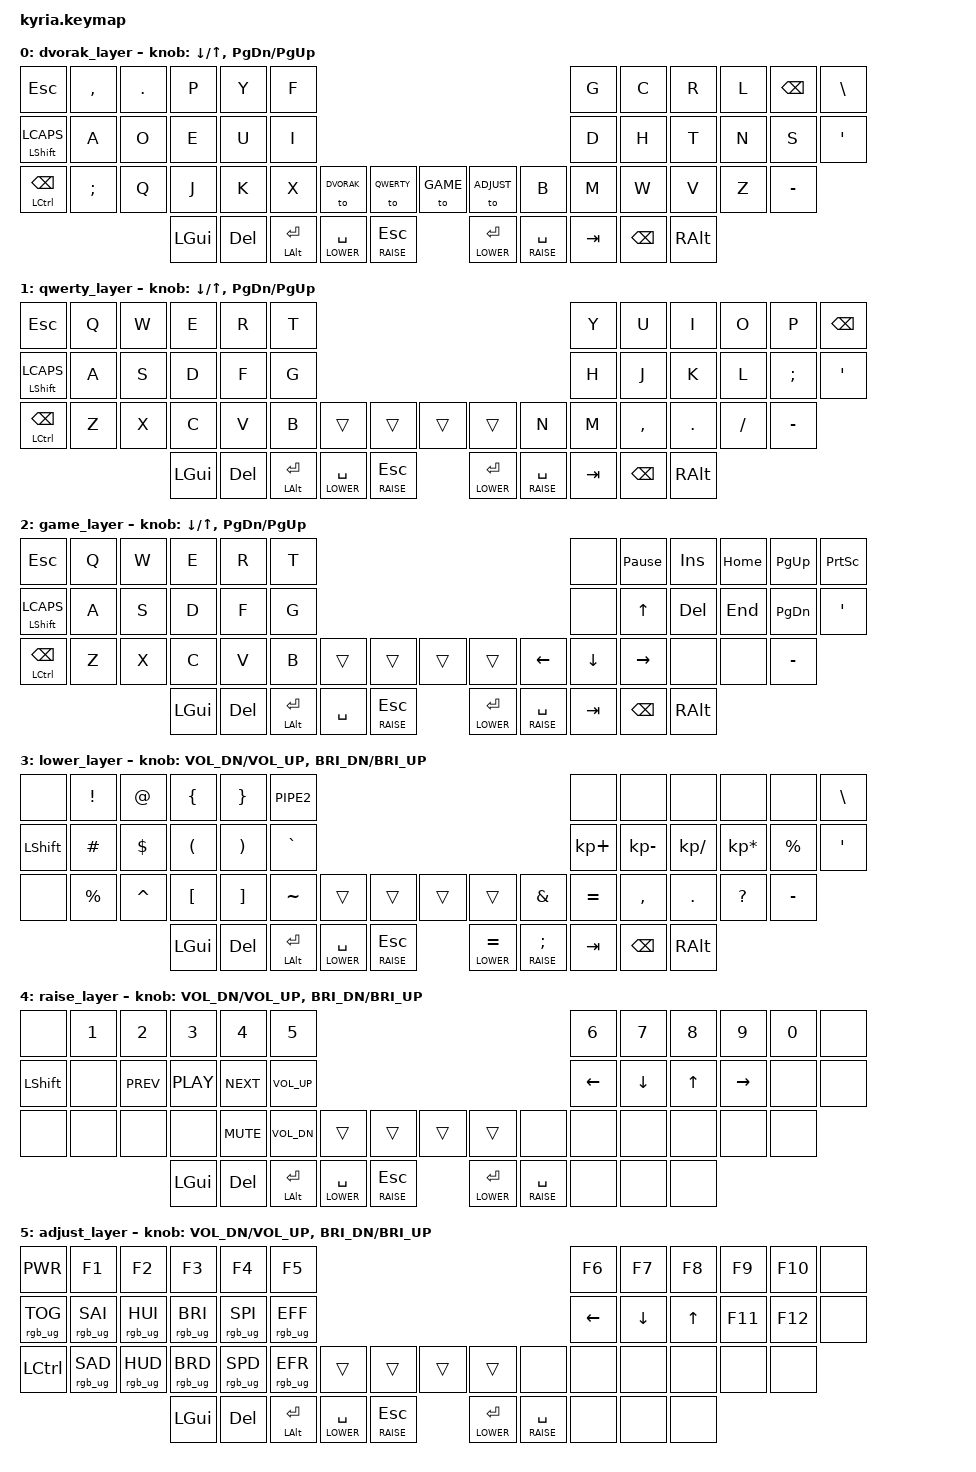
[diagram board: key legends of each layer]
/*
 * Copyright (c) 2020 The ZMK Contributors
 *
 * SPDX-License-Identifier: MIT
 */

#include <behaviors.dtsi>
#include <dt-bindings/zmk/keys.h>
#include <dt-bindings/zmk/rgb.h>

#define DVORAK  0
#define QWERTY  1
#define GAME	2
#define LOWER   3
#define RAISE   4
#define ADJUST	5


&left_encoder { resolution = <2>; };
&right_encoder { resolution = <2>; };

/ {

	keymap {
		compatible = "zmk,keymap";
/* 
 * Base Layer: DVORAK 
 *
 * ,----------------------------------------------.																   ,-------------------------------------------.
 * |  RAIS/ESC | , <  | . >  |   P  |   Y  |   F  |																   |   G  |   C  |   R  |   L  | BKSP |  | \   |
 * |-----------+------+------+------+------+------|																   |------+------+------+------+------+--------|
 * |LShift/caps|   A  |   O  |  E   |   U  |   I  |																   |   D  |   H  |   T  |   N  |   S  |  ' "   |
 * |-----------+------+------+------+------+------+-------------. 									 ,-------------+------+------+------+------+------+--------|
 * |  Ctrl/BS  |   ;  |   Q  |   J  |   K  |   X  |DVORAK|QWERTY| 									 | GAME |ADJUST|   B  |   M  |  W   |   V  |   Z  |  - _   |
 * `-------------------------+------+------+------+------+------| 									 |------+------+------+------+------+----------------------'
 *							 | GUI  | Del  | Enter| Space| Esc  | 									 | Enter| Space| Tab  |  bsp | AltGr|
 *							 |      |      | Alt  | Lower| Raise| 									 | Lower| Raise|      |      |      |
 *							 `----------------------------------' 									 `----------------------------------'
 */
		dvorak_layer {

			bindings = <
	&kp ESC   		&kp COMMA	&kp DOT	 &kp P 		&kp Y 	&kp F                                                						&kp G 	  	&kp C		&kp R 	 &kp L 	&kp BSPC	&kp BSLH
	&mt LSHFT LCAPS &kp A 		&kp O    &kp E 		&kp U 	&kp I                                                						&kp D 	  	&kp H		&kp T 	 &kp N 	&kp S   	&kp SQT
	&mt LCTL BSPC	&kp SEMI	&kp Q    &kp J 		&kp K 	&kp X 		 &to DVORAK 	 &to QWERTY  	 &to GAME  	&to ADJUST 	&kp B 		&kp M		&kp W 	 &kp V 	&kp Z   	&kp MINUS
	                 					 &kp LGUI   &kp DEL &mt LALT RET &lt LOWER SPACE &lt RAISE ESC 	 &lt LOWER RET  &lt RAISE SPACE &kp TAB 	&kp BSPC	&kp RALT
			>;
 
			sensor-bindings = <&inc_dec_kp DOWN UP &inc_dec_kp PG_DN PG_UP>;
		};
/* 
 * Base Layer: QWERTY 
 *
 * ,-------------------------------------------.							  ,-------------------------------------------.
 * |RAIS/ESC|   Q  |   W  |   E  |   R  |   T  |							  |   Y  |   U  |   I  |   O  |   P  |  | \   |
 * |--------+------+------+------+------+------|							  |------+------+------+------+------+--------|
 * | LShift |   A  |   S  |  D   |   F  |   G  |							  |   H  |   J  |   K  |   L  | ;  : |  ' "   |
 * |--------+------+------+------+------+------+-------------.  ,-------------+------+------+------+------+------+--------|
 * | Ctrl/BS|   Z  |   X  |   C  |   V  |   B  |DVORAK|QWERTY|  | GAME |ADJUST|   N  |   M  | ,  < | . >  |    ? |  - _   |
 * `----------------------+------+------+------+------+------|  |------+------+------+------+------+----------------------'
 *						  | GUI  | Del  | Enter| Space| Esc  |  | Enter| Space| Tab  | Bksp | AltGr|
 *						  |      |      | Alt  | Lower| Raise|  | Lower| Raise|      |      |      |
 *						  `----------------------------------'  `----------------------------------'
 */
		qwerty_layer {	
			bindings = <
	&kp ESC   		&kp Q	&kp W	&kp E 		&kp R 	&kp T                                                						 &kp Y 	  	&kp U		&kp I 	  &kp O 	&kp P		&kp BSPC
	&mt LSHFT LCAPS &kp A 	&kp S  	&kp D 		&kp F 	&kp G                                                						 &kp H 	  	&kp J		&kp K 	  &kp L 	&kp SEMI   	&kp SQT
	&mt LCTL BSPC	&kp Z 	&kp X  	&kp C 		&kp V 	&kp B 	 	 &trans 	 &trans  	 &trans  	&trans 	 &kp N 	  	&kp M		&kp COMMA &kp DOT 	&kp FSLH   	&kp MINUS
	                 				&kp LGUI	&kp DEL &mt LALT RET &lt LOWER SPACE &lt RAISE ESC 	 &lt LOWER RET  &lt RAISE SPACE	 &kp TAB  	&kp BSPC  	&kp RALT
	        >;

			sensor-bindings = <&inc_dec_kp DOWN UP &inc_dec_kp PG_DN PG_UP>;
		};

 		game_layer {
 /* 
  * Base Layer: GAME
  *
  * ,-------------------------------------------.							   ,-------------------------------------------.
  * |RAIS/ESC|   Q  |   W  |   E  |   R  |   T  |							   |      | paus |insert| home | pgup |printscreen|
  * |--------+------+------+------+------+------|							   |------+------+------+------+------+--------|
  * | LShift |   A  |   S  |  D   |   F  |   G  |							   |      |   ^  |delete|  end | pgdn |  Plus  |
  * |--------+------+------+------+------+------+-------------.  ,-------------+------+------+------+------+------+--------|
  * | Ctrl/BS|   Z  |   X  |   C  |   V  |   B  |DVORAK|QWERTY|  | GAME |ADJUST| <--  |   v  | -->  |      |      | Minus  |
  * `----------------------+------+------+------+------+------|  |------+------+------+------+------+----------------------'
  *						   | GUI  | Tab  | Enter| Space| Esc  |  | Enter| Space| Tab  | Bksp | AltGr|
  *						   |      |      | Alt  | Lower| Raise|  | Lower| Raise|      |      |      |
  *						   `----------------------------------'  `----------------------------------'
  */
 						bindings = <
 	&kp ESC   		&kp Q	&kp W	 &kp E 		&kp R 		&kp T                                                	   					&none	  &kp PAUSE_BREAK  	&kp INS    &kp HOME  &kp PG_UP	&kp PSCRN
 	&mt LSHFT LCAPS &kp A 	&kp S    &kp D 		&kp F 		&kp G                                                	   					&none 	  &kp UP    	   	&kp DEL    &kp END	 &kp PG_DN 	&kp SQT
 	&mt LCTL BSPC	&kp Z 	&kp X    &kp C 		&kp V 		&kp B 		 &trans 	 &trans  	 &trans  	&trans 	&kp LEFT  &kp DOWN  	   	&kp RIGHT  &none 	 &none   	&kp MINUS
 	        	                 	 &kp LGUI   &kp DEL 	&mt LALT RET &kp SPACE &lt RAISE ESC 	 &lt LOWER RET  &lt RAISE SPACE	&kp TAB   &kp BSPC  	   	&kp RALT
 			>;

 			sensor-bindings = <&inc_dec_kp DOWN UP &inc_dec_kp PG_DN PG_UP>;
 		};

 		lower_layer {
 /* 
  * Lower Layer: Symbols 
  * 
  * ,-------------------------------------------.							   ,-------------------------------------------.
  * |        |  !   |  @   |  {   |  }   |  |   |							   |      |      |      |      |      |  | \   |
  * |--------+------+------+------+------+------|							   |------+------+------+------+------+--------|
  * |        |  #   |  $   |  (   |  )   |  `   |							   |   +  |  -   |  /   |  *   |  %   |  ' "   |
  * |--------+------+------+------+------+------+-------------.  ,-------------+------+------+------+------+------+--------|
  * |        |  %   |  ^   |  [   |  ]   |  ~   |DVORAK|QWERTY|  | GAME |ADJUST|   &  |  =   |  ,   |  .   |    ? | - _    |
  * `----------------------+------+------+------+------+------|  |------+------+------+------+------+----------------------'
  *						   | GUI  | Tab  | Enter| Space| Esc  |  | 	=   |   ;  | Tab  | Bksp | AltGr|
  *						   |      |      | Alt  | Lower| Raise|  | Lower| Raise|      |      |      |
  *						   `----------------------------------'  `----------------------------------'
  */
 						bindings = <
 	&none     &kp EXCL  &kp AT	  &kp LBRC	&kp RBRC 	&kp PIPE2                                              						&none	  	&none	     &none    		&none  	 		 &none		&kp BSLH
 	&kp LSHFT &kp HASH  &kp DLLR  &kp LPAR	&kp RPAR	&kp GRAVE                                              						&kp KP_PLUS &kp KP_MINUS &kp KP_SLASH 	&kp KP_ASTERISK	 &kp PRCNT 	&kp SQT
 	&none     &kp PRCNT &kp CARET &kp LBKT	&kp RBKT	&kp TILDE 	 &trans 	 &trans  	 &trans  	&trans 	&kp AMPS  	&kp EQUAL  	 &kp COMMA  	&kp DOT 	 	 &kp QMARK  &kp MINUS
 	        	     		   	  &kp LGUI  &kp DEL 	&mt LALT RET &lt LOWER SPACE &lt RAISE ESC 	 &lt LOWER EQUAL  &lt RAISE SEMI &kp TAB		&kp BSPC  	 &kp RALT
 			>;

 			sensor-bindings = <&inc_dec_kp C_VOL_DN C_VOL_UP &inc_dec_kp C_BRI_DN C_BRI_UP>;
 		};

 		raise_layer {
 /*
  * Raise Layer: Number keys, media, navigation
  *
  * ,-------------------------------------------.							   ,-------------------------------------------.
  * |        |   1  |  2   |  3   |  4   |  5   |							   |  6   |  7   |  8   |  9   |  0   |        |
  * |--------+------+------+------+------+------|							   |------+------+------+------+------+--------|
  * |        |      | Prev | Play | Next | VolUp|							   | Left | Down | Up   | Right|      |        |
  * |--------+------+------+------+------+------+-------------.  ,-------------+------+------+------+------+------+--------|
  * |        |      |      |      | Mute | VolDn|DVORAK|QWERTY|  | GAME |ADJUST| MLeft| Mdown| MUp  |MRight|      |        |
  * `----------------------+------+------+------+------+------|  |------+------+------+------+------+----------------------'
  *						   |      |      |      | Space| Esc  |  | 	=   |   ;  |      |      |      |
  *						   |      |      |      | Lower| Raise|  | Lower| Raise|      |      |      |
  *						   `----------------------------------'  `----------------------------------'
  */
 			bindings = <
 	&none  	  &kp N1 &kp N2	    &kp N3		&kp N4 		&kp N5                                              						&kp N6		&kp N7     	&kp N8  &kp N9 	 	&kp N0		&none
 	&kp LSHFT &none	 &kp C_PREV &kp C_PLAY	&kp C_NEXT	&kp C_VOL_UP                                              					&kp LEFT  	&kp DOWN	&kp UP	&kp RIGHT	&none	 	&none
 	&none  	  &none	 &none		&none		&kp C_MUTE	&kp C_VOL_DN &trans 	 &trans  	 &trans  	&trans 	&none	  	&none	  	&none	&none 	 	&none   	&none
 	        	     		    &kp LGUI  &kp DEL   &mt LALT RET &lt LOWER SPACE &lt RAISE ESC 	 &lt LOWER RET  &lt RAISE SPACE &none		&none	  	&none
 			>;

 			sensor-bindings = <&inc_dec_kp C_VOL_DN C_VOL_UP &inc_dec_kp C_BRI_DN C_BRI_UP>;
 		};

 		adjust_layer {
 /*
  * Adjust Layer: Function keys, RGB
  *
  * ,-------------------------------------------.							   ,-------------------------------------------.
  * |   PWR  | F1   |  F2  | F3   | F4   | F5   |							   | F6   | F7   |  F8  | F9   | F10  |        |
  * |--------+------+------+------+------+------|							   |------+------+------+------+------+--------|
  * |   TOG  | SAI  | HUI  | VAI  | MOD  |      |							   |      |      |      | F11  | F12  |        |
  * |--------+------+------+------+------+------+-------------.  ,-------------+------+------+------+------+------+--------|
  * |  LCTL  | SAD  | HUD  | VAD  | RMOD |      |      |      |  |      |      |      |      |      |      |      |        |
  * `----------------------+------+------+------+------+------|  |------+------+------+------+------+----------------------'
  *						   |      |      |      |      |      |  |      |      |      |      |      |
  *						   |      |      |      |      |      |  |      |      |      |      |      |
  *						   `----------------------------------'  `----------------------------------'
  */
  			bindings = <
 	&kp C_PWR 		&kp F1			&kp F2	    	&kp F3			&kp F4 			&kp F5														   					&kp F6	  &kp F7    &kp F8  &kp F9 	&kp F10		&none
 	&rgb_ug RGB_TOG	&rgb_ug RGB_SAI &rgb_ug RGB_HUI	&rgb_ug RGB_BRI	&rgb_ug RGB_SPI &rgb_ug RGB_EFF												   					&kp LEFT   &kp DOWN	&kp UP	&kp F11	&kp F12	 	&none
 	&kp LCTL 		&rgb_ug	RGB_SAD	&rgb_ug	RGB_HUD	&rgb_ug RGB_BRD	&rgb_ug RGB_SPD &rgb_ug RGB_EFR &trans 	 &trans  	 &trans  	&trans 	&none	  &none		&none	&none   &none		&none
 	        	     		    					&kp LGUI  &kp DEL  &mt LALT RET   &lt LOWER SPACE &lt RAISE ESC 	 &lt LOWER RET  &lt RAISE SPACE &none 	  &none	  	&none
 			>;

 			sensor-bindings = <&inc_dec_kp C_VOL_DN C_VOL_UP &inc_dec_kp C_BRI_DN C_BRI_UP>;
 		};

	};
};
